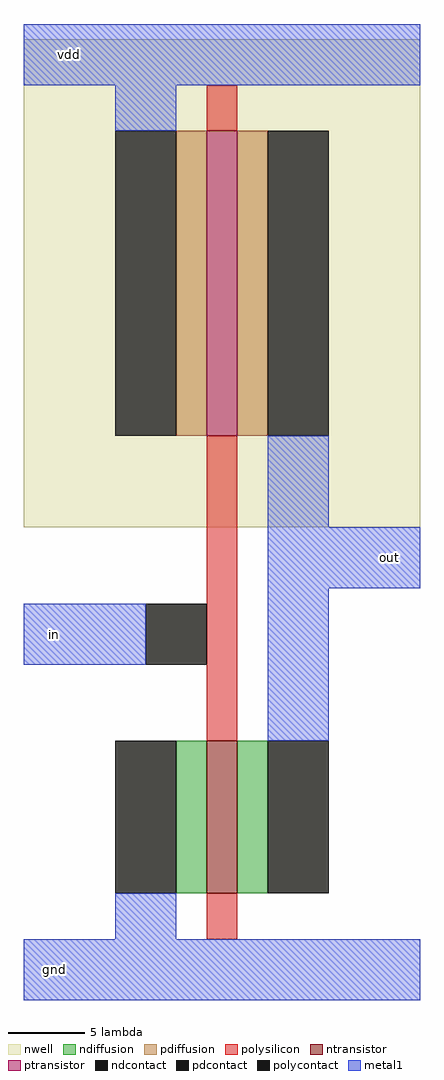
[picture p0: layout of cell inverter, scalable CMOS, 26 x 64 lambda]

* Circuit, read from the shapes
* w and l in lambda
.subckt inverter gnd in out vdd
M1 out in gnd VSUBS nfet w=10 l=2
M2 out in vdd n1 pfet w=20 l=2
.ends

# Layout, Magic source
magic
tech scmos
<< nwell >>
rect -6 -6 20 26
<< ntransistor >>
rect 6 -30 8 -20
<< ptransistor >>
rect 6 0 8 20
<< ndiffusion >>
rect 4 -30 6 -20
rect 8 -30 10 -20
<< pdiffusion >>
rect 4 0 6 20
rect 8 0 10 20
<< ndcontact >>
rect 0 -30 4 -20
rect 10 -30 14 -20
<< pdcontact >>
rect 0 0 4 20
rect 10 0 14 20
<< polysilicon >>
rect 6 20 8 23
rect 6 -20 8 0
rect 6 -33 8 -30
<< polycontact >>
rect 2 -15 6 -11
<< metal1 >>
rect -6 23 20 27
rect 0 20 4 23
rect 10 -6 14 0
rect 10 -10 20 -6
rect -6 -15 2 -11
rect 10 -20 14 -10
rect 0 -33 4 -30
rect -6 -37 20 -33
<< labels >>
rlabel metal1 16 -10 20 -6 7 out
rlabel metal1 -6 -15 -2 -11 3 in
rlabel metal1 -6 -37 -2 -33 2 gnd
rlabel metal1 -5 23 -1 27 4 vdd
<< end >>
